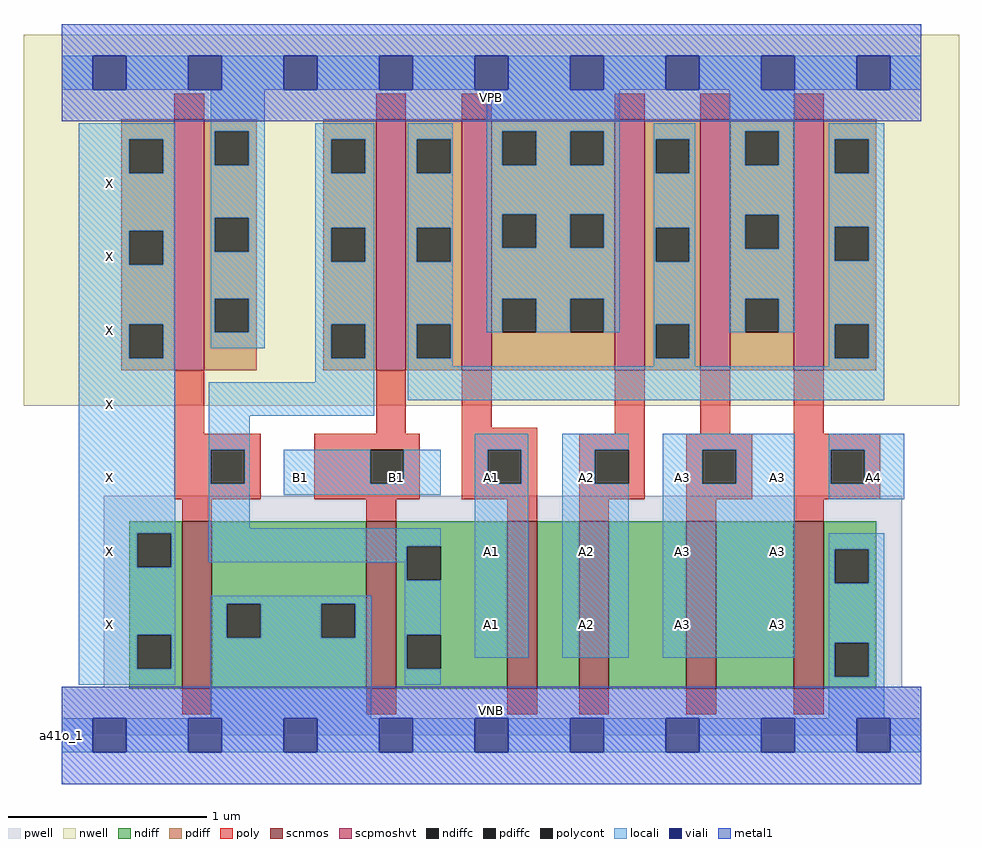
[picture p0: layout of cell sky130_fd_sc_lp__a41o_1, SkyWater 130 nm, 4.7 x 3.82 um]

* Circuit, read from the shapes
.subckt sky130_fd_sc_lp__a41o_1 A1 A2 A3 A4 B1 VGND VNB VPB VPWR X
XM1 VGND n1 X VNB sky130_fd_pr__nfet_01v8 w=0.84 l=0.15
XM2 n1 B1 VGND VNB sky130_fd_pr__nfet_01v8 w=0.84 l=0.15
XM3 n2 A1 n1 VNB sky130_fd_pr__nfet_01v8 w=0.84 l=0.15
XM4 n3 A2 n2 VNB sky130_fd_pr__nfet_01v8 w=0.84 l=0.15
XM5 n4 A3 n3 VNB sky130_fd_pr__nfet_01v8 w=0.84 l=0.15
XM6 VGND A4 n4 VNB sky130_fd_pr__nfet_01v8 w=0.84 l=0.15
XM7 VPWR n1 X VPB sky130_fd_pr__pfet_01v8_hvt w=1.26 l=0.15
XM8 n5 B1 n1 VPB sky130_fd_pr__pfet_01v8_hvt w=1.26 l=0.15
XM9 VPWR A1 n5 VPB sky130_fd_pr__pfet_01v8_hvt w=1.26 l=0.15
XM10 n5 A2 VPWR VPB sky130_fd_pr__pfet_01v8_hvt w=1.26 l=0.15
XM11 VPWR A3 n5 VPB sky130_fd_pr__pfet_01v8_hvt w=1.26 l=0.15
XM12 n5 A4 VPWR VPB sky130_fd_pr__pfet_01v8_hvt w=1.26 l=0.15
.ends

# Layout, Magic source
magic
tech sky130A
magscale 1 2
<< nwell >>
rect -38 331 902 704
<< pwell >>
rect 42 49 845 241
rect 0 0 864 49
<< scnmos >>
rect 121 47 151 215
rect 306 47 336 215
rect 448 47 478 215
rect 520 47 550 215
rect 628 47 658 215
rect 736 47 766 215
<< scpmoshvt >>
rect 113 367 143 619
rect 316 367 346 619
rect 402 367 432 619
rect 556 367 586 619
rect 642 367 672 619
rect 736 367 766 619
<< ndiff >>
rect 68 203 121 215
rect 68 169 76 203
rect 110 169 121 203
rect 68 101 121 169
rect 68 67 76 101
rect 110 67 121 101
rect 68 47 121 67
rect 151 132 306 215
rect 151 98 166 132
rect 200 98 261 132
rect 295 98 306 132
rect 151 47 306 98
rect 336 190 448 215
rect 336 156 347 190
rect 381 156 448 190
rect 336 101 448 156
rect 336 67 347 101
rect 381 67 448 101
rect 336 47 448 67
rect 478 47 520 215
rect 550 47 628 215
rect 658 47 736 215
rect 766 187 819 215
rect 766 153 777 187
rect 811 153 819 187
rect 766 93 819 153
rect 766 59 777 93
rect 811 59 819 93
rect 766 47 819 59
<< pdiff >>
rect 60 599 113 619
rect 60 565 68 599
rect 102 565 113 599
rect 60 507 113 565
rect 60 473 68 507
rect 102 473 113 507
rect 60 413 113 473
rect 60 379 68 413
rect 102 379 113 413
rect 60 367 113 379
rect 143 607 196 619
rect 143 573 154 607
rect 188 573 196 607
rect 143 520 196 573
rect 143 486 154 520
rect 188 486 196 520
rect 143 439 196 486
rect 143 405 154 439
rect 188 405 196 439
rect 143 367 196 405
rect 263 599 316 619
rect 263 565 271 599
rect 305 565 316 599
rect 263 510 316 565
rect 263 476 271 510
rect 305 476 316 510
rect 263 413 316 476
rect 263 379 271 413
rect 305 379 316 413
rect 263 367 316 379
rect 346 599 402 619
rect 346 565 357 599
rect 391 565 402 599
rect 346 510 402 565
rect 346 476 357 510
rect 391 476 402 510
rect 346 413 402 476
rect 346 379 357 413
rect 391 379 402 413
rect 346 367 402 379
rect 432 607 556 619
rect 432 573 443 607
rect 477 573 511 607
rect 545 573 556 607
rect 432 524 556 573
rect 432 490 443 524
rect 477 490 511 524
rect 545 490 556 524
rect 432 439 556 490
rect 432 405 443 439
rect 477 405 511 439
rect 545 405 556 439
rect 432 367 556 405
rect 586 599 642 619
rect 586 565 597 599
rect 631 565 642 599
rect 586 510 642 565
rect 586 476 597 510
rect 631 476 642 510
rect 586 413 642 476
rect 586 379 597 413
rect 631 379 642 413
rect 586 367 642 379
rect 672 607 736 619
rect 672 573 687 607
rect 721 573 736 607
rect 672 523 736 573
rect 672 489 687 523
rect 721 489 736 523
rect 672 439 736 489
rect 672 405 687 439
rect 721 405 736 439
rect 672 367 736 405
rect 766 599 819 619
rect 766 565 777 599
rect 811 565 819 599
rect 766 511 819 565
rect 766 477 777 511
rect 811 477 819 511
rect 766 413 819 477
rect 766 379 777 413
rect 811 379 819 413
rect 766 367 819 379
<< ndiffc >>
rect 76 169 110 203
rect 76 67 110 101
rect 166 98 200 132
rect 261 98 295 132
rect 347 156 381 190
rect 347 67 381 101
rect 777 153 811 187
rect 777 59 811 93
<< pdiffc >>
rect 68 565 102 599
rect 68 473 102 507
rect 68 379 102 413
rect 154 573 188 607
rect 154 486 188 520
rect 154 405 188 439
rect 271 565 305 599
rect 271 476 305 510
rect 271 379 305 413
rect 357 565 391 599
rect 357 476 391 510
rect 357 379 391 413
rect 443 573 477 607
rect 511 573 545 607
rect 443 490 477 524
rect 511 490 545 524
rect 443 405 477 439
rect 511 405 545 439
rect 597 565 631 599
rect 597 476 631 510
rect 597 379 631 413
rect 687 573 721 607
rect 687 489 721 523
rect 687 405 721 439
rect 777 565 811 599
rect 777 477 811 511
rect 777 379 811 413
<< poly >>
rect 113 619 143 645
rect 316 619 346 645
rect 402 619 432 645
rect 556 619 586 645
rect 642 619 672 645
rect 736 619 766 645
rect 113 303 143 367
rect 316 303 346 367
rect 402 309 432 367
rect 113 287 200 303
rect 113 253 150 287
rect 184 253 200 287
rect 113 237 200 253
rect 254 287 360 303
rect 254 253 310 287
rect 344 253 360 287
rect 254 237 360 253
rect 402 287 478 309
rect 556 303 586 367
rect 642 303 672 367
rect 736 303 766 367
rect 402 253 428 287
rect 462 253 478 287
rect 402 237 478 253
rect 121 215 151 237
rect 306 215 336 237
rect 448 215 478 237
rect 520 287 586 303
rect 520 253 536 287
rect 570 253 586 287
rect 520 237 586 253
rect 628 287 694 303
rect 628 253 644 287
rect 678 253 694 287
rect 628 237 694 253
rect 736 287 823 303
rect 736 253 773 287
rect 807 253 823 287
rect 736 237 823 253
rect 520 215 550 237
rect 628 215 658 237
rect 736 215 766 237
rect 121 21 151 47
rect 306 21 336 47
rect 448 21 478 47
rect 520 21 550 47
rect 628 21 658 47
rect 736 21 766 47
<< polycont >>
rect 150 253 184 287
rect 310 253 344 287
rect 428 253 462 287
rect 536 253 570 287
rect 644 253 678 287
rect 773 253 807 287
<< locali >>
rect 0 649 31 683
rect 65 649 127 683
rect 161 649 223 683
rect 257 649 319 683
rect 353 649 415 683
rect 449 649 511 683
rect 545 649 607 683
rect 641 649 703 683
rect 737 649 799 683
rect 833 649 864 683
rect 17 599 114 615
rect 17 565 68 599
rect 102 565 114 599
rect 17 507 114 565
rect 17 473 68 507
rect 102 473 114 507
rect 17 413 114 473
rect 17 379 68 413
rect 102 379 114 413
rect 150 607 204 649
rect 150 573 154 607
rect 188 573 204 607
rect 150 520 204 573
rect 150 486 154 520
rect 188 486 204 520
rect 150 439 204 486
rect 150 405 154 439
rect 188 405 204 439
rect 150 389 204 405
rect 255 599 314 615
rect 255 565 271 599
rect 305 565 314 599
rect 255 510 314 565
rect 255 476 271 510
rect 305 476 314 510
rect 255 413 314 476
rect 17 203 114 379
rect 255 379 271 413
rect 305 379 314 413
rect 255 355 314 379
rect 17 169 76 203
rect 110 169 114 203
rect 148 321 314 355
rect 348 599 393 615
rect 348 565 357 599
rect 391 565 393 599
rect 348 510 393 565
rect 348 476 357 510
rect 391 476 393 510
rect 348 413 393 476
rect 348 379 357 413
rect 391 379 393 413
rect 427 607 561 649
rect 427 573 443 607
rect 477 573 511 607
rect 545 573 561 607
rect 427 524 561 573
rect 427 490 443 524
rect 477 490 511 524
rect 545 490 561 524
rect 427 439 561 490
rect 427 405 443 439
rect 477 405 511 439
rect 545 405 561 439
rect 595 599 637 615
rect 595 565 597 599
rect 631 565 637 599
rect 595 510 637 565
rect 595 476 597 510
rect 631 476 637 510
rect 595 413 637 476
rect 348 371 393 379
rect 595 379 597 413
rect 631 379 637 413
rect 671 607 737 649
rect 671 573 687 607
rect 721 573 737 607
rect 671 523 737 573
rect 671 489 687 523
rect 721 489 737 523
rect 671 439 737 489
rect 671 405 687 439
rect 721 405 737 439
rect 771 599 827 615
rect 771 565 777 599
rect 811 565 827 599
rect 771 511 827 565
rect 771 477 777 511
rect 811 477 827 511
rect 771 413 827 477
rect 595 371 637 379
rect 771 379 777 413
rect 811 379 827 413
rect 771 371 827 379
rect 348 337 827 371
rect 148 287 189 321
rect 415 287 469 303
rect 148 253 150 287
rect 184 253 189 287
rect 148 208 189 253
rect 223 253 310 287
rect 344 253 381 287
rect 223 242 381 253
rect 415 253 428 287
rect 462 253 469 287
rect 148 190 381 208
rect 148 174 347 190
rect 17 101 114 169
rect 345 156 347 174
rect 17 67 76 101
rect 110 67 114 101
rect 17 51 114 67
rect 150 132 311 140
rect 150 98 166 132
rect 200 98 261 132
rect 295 98 311 132
rect 150 17 311 98
rect 345 101 381 156
rect 345 67 347 101
rect 415 78 469 253
rect 503 287 570 303
rect 503 253 536 287
rect 503 78 570 253
rect 604 287 737 303
rect 604 253 644 287
rect 678 253 737 287
rect 604 78 737 253
rect 771 287 847 303
rect 771 253 773 287
rect 807 253 847 287
rect 771 237 847 253
rect 771 187 827 203
rect 771 153 777 187
rect 811 153 827 187
rect 771 93 827 153
rect 345 51 381 67
rect 771 59 777 93
rect 811 59 827 93
rect 771 17 827 59
rect 0 -17 31 17
rect 65 -17 127 17
rect 161 -17 223 17
rect 257 -17 319 17
rect 353 -17 415 17
rect 449 -17 511 17
rect 545 -17 607 17
rect 641 -17 703 17
rect 737 -17 799 17
rect 833 -17 864 17
<< viali >>
rect 31 649 65 683
rect 127 649 161 683
rect 223 649 257 683
rect 319 649 353 683
rect 415 649 449 683
rect 511 649 545 683
rect 607 649 641 683
rect 703 649 737 683
rect 799 649 833 683
rect 31 -17 65 17
rect 127 -17 161 17
rect 223 -17 257 17
rect 319 -17 353 17
rect 415 -17 449 17
rect 511 -17 545 17
rect 607 -17 641 17
rect 703 -17 737 17
rect 799 -17 833 17
<< metal1 >>
rect 0 683 864 715
rect 0 649 31 683
rect 65 649 127 683
rect 161 649 223 683
rect 257 649 319 683
rect 353 649 415 683
rect 449 649 511 683
rect 545 649 607 683
rect 641 649 703 683
rect 737 649 799 683
rect 833 649 864 683
rect 0 617 864 649
rect 0 17 864 49
rect 0 -17 31 17
rect 65 -17 127 17
rect 161 -17 223 17
rect 257 -17 319 17
rect 353 -17 415 17
rect 449 -17 511 17
rect 545 -17 607 17
rect 641 -17 703 17
rect 737 -17 799 17
rect 833 -17 864 17
rect 0 -49 864 -17
<< labels >>
flabel pwell s 0 0 864 49 0 FreeSans 200 0 0 0 VNB
port 7 nsew ground bidirectional
flabel nwell s 0 617 864 666 0 FreeSans 200 0 0 0 VPB
port 8 nsew power bidirectional
rlabel comment s 0 0 0 0 4 a41o_1
flabel metal1 s 0 617 864 666 0 FreeSans 340 0 0 0 VPWR
port 9 nsew power bidirectional
flabel metal1 s 0 0 864 49 0 FreeSans 340 0 0 0 VGND
port 6 nsew ground bidirectional
flabel locali s 511 94 545 128 0 FreeSans 340 0 0 0 A2
port 2 nsew signal input
flabel locali s 511 168 545 202 0 FreeSans 340 0 0 0 A2
port 2 nsew signal input
flabel locali s 511 242 545 276 0 FreeSans 340 0 0 0 A2
port 2 nsew signal input
flabel locali s 607 94 641 128 0 FreeSans 340 0 0 0 A3
port 3 nsew signal input
flabel locali s 607 168 641 202 0 FreeSans 340 0 0 0 A3
port 3 nsew signal input
flabel locali s 607 242 641 276 0 FreeSans 340 0 0 0 A3
port 3 nsew signal input
flabel locali s 703 94 737 128 0 FreeSans 340 0 0 0 A3
port 3 nsew signal input
flabel locali s 703 168 737 202 0 FreeSans 340 0 0 0 A3
port 3 nsew signal input
flabel locali s 703 242 737 276 0 FreeSans 340 0 0 0 A3
port 3 nsew signal input
flabel locali s 31 94 65 128 0 FreeSans 340 0 0 0 X
port 10 nsew signal output
flabel locali s 31 168 65 202 0 FreeSans 340 0 0 0 X
port 10 nsew signal output
flabel locali s 31 242 65 276 0 FreeSans 340 0 0 0 X
port 10 nsew signal output
flabel locali s 31 316 65 350 0 FreeSans 340 0 0 0 X
port 10 nsew signal output
flabel locali s 31 390 65 424 0 FreeSans 340 0 0 0 X
port 10 nsew signal output
flabel locali s 31 464 65 498 0 FreeSans 340 0 0 0 X
port 10 nsew signal output
flabel locali s 31 538 65 572 0 FreeSans 340 0 0 0 X
port 10 nsew signal output
flabel locali s 415 94 449 128 0 FreeSans 340 0 0 0 A1
port 1 nsew signal input
flabel locali s 415 168 449 202 0 FreeSans 340 0 0 0 A1
port 1 nsew signal input
flabel locali s 415 242 449 276 0 FreeSans 340 0 0 0 A1
port 1 nsew signal input
flabel locali s 799 242 833 276 0 FreeSans 340 0 0 0 A4
port 4 nsew signal input
flabel locali s 223 242 257 276 0 FreeSans 340 0 0 0 B1
port 5 nsew signal input
flabel locali s 319 242 353 276 0 FreeSans 340 0 0 0 B1
port 5 nsew signal input
<< properties >>
string LEFsite unit
string LEFclass CORE
string FIXED_BBOX 0 0 864 666
string GDS_FILE $PDKPATH/libs.ref/sky130_fd_sc_lp/gds/sky130_fd_sc_lp.gds
string LEFsymmetry X Y R90
string GDS_END 5528146
string GDS_START 5518658
<< end >>
